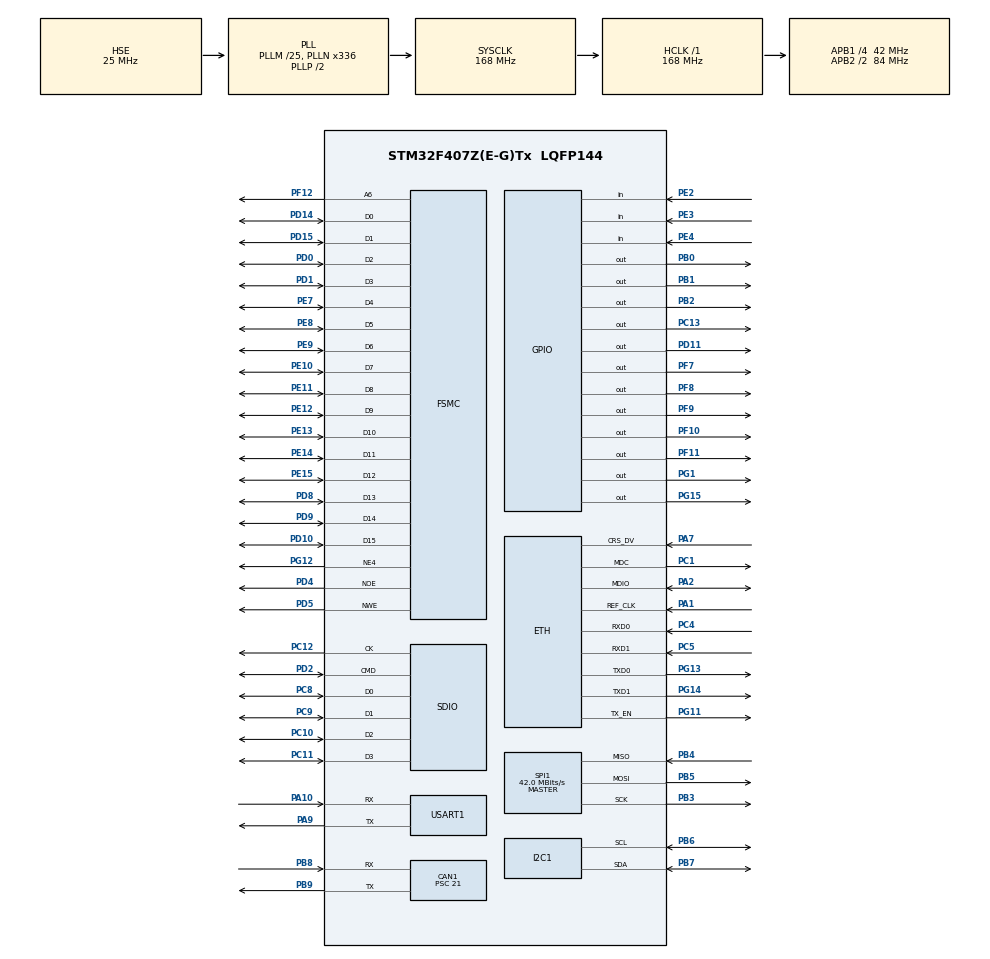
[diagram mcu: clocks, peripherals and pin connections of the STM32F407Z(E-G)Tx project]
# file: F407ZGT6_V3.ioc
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CAN1.ABOM=ENABLE
CAN1.BS1=CAN_BS1_13TQ
CAN1.BS2=CAN_BS2_2TQ
CAN1.CalculateBaudRate=125000
CAN1.CalculateTimeBit=8000
CAN1.CalculateTimeQuantum=500.0
CAN1.Mode=CAN_MODE_LOOPBACK
CAN1.NART=ENABLE
CAN1.Prescaler=21
Dma.Request0=USART1_RX
Dma.Request1=SDIO
Dma.SDIO.1.Direction=DMA_PERIPH_TO_MEMORY
Dma.SDIO.1.FIFOMode=DMA_FIFOMODE_ENABLE
Dma.SDIO.1.FIFOThreshold=DMA_FIFO_THRESHOLD_FULL
Dma.SDIO.1.Instance=DMA2_Stream3
Dma.SDIO.1.MemBurst=DMA_MBURST_INC4
Dma.SDIO.1.MemDataAlignment=DMA_MDATAALIGN_WORD
Dma.SDIO.1.MemInc=DMA_MINC_ENABLE
Dma.SDIO.1.Mode=DMA_PFCTRL
Dma.SDIO.1.PeriphBurst=DMA_PBURST_INC4
Dma.SDIO.1.PeriphDataAlignment=DMA_PDATAALIGN_WORD
Dma.SDIO.1.PeriphInc=DMA_PINC_DISABLE
Dma.SDIO.1.Priority=DMA_PRIORITY_LOW
Dma.USART1_RX.0.Direction=DMA_PERIPH_TO_MEMORY
Dma.USART1_RX.0.FIFOMode=DMA_FIFOMODE_DISABLE
Dma.USART1_RX.0.Instance=DMA2_Stream2
Dma.USART1_RX.0.MemDataAlignment=DMA_MDATAALIGN_BYTE
Dma.USART1_RX.0.MemInc=DMA_MINC_ENABLE
Dma.USART1_RX.0.Mode=DMA_NORMAL
Dma.USART1_RX.0.PeriphDataAlignment=DMA_PDATAALIGN_BYTE
Dma.USART1_RX.0.PeriphInc=DMA_PINC_DISABLE
Dma.USART1_RX.0.Priority=DMA_PRIORITY_LOW
ETH.MediaInterface=HAL_ETH_RMII_MODE
FATFS._USE_LFN=3
FREERTOS.CountingSemaphores01=Uart1RxSem,2,Dynamic,NULL,0
FREERTOS.Mutexes01=Uart1TxMutex,Dynamic,NULL,Available
FREERTOS.Queues01=KeyQueue,4,KeyMsg_t,0,Dynamic,NULL,NULL;LedQueue,4,LedMsg_t,0,Dynamic,NULL,NULL;TouchQueue,16,TouchMsg_t,0,Dynamic,NULL,NULL
FREERTOS.Tasks01=defaultTask,24,128,StartDefaultTask,Default,NULL,Dynamic,NULL,NULL;Key_Proc_Task,32,128,Key_Proc,As weak,NULL,Dynamic,NULL,NULL;Led_Disp_Task,16,128,Led_Disp,As weak,NULL,Dynamic,NULL,NULL;Lcd_Disp_Task,16,1536,Lcd_Disp,As weak,NULL,Dynamic,NULL,NULL;Touch_Proc_Task,32,128,Touch_Proc,As weak,NULL,Dynamic,NULL,NULL;Uart_Proc_Task,24,256,Uart_Proc,As weak,NULL,Dynamic,NULL,NULL
FREERTOS.configENABLE_FPU=1
FREERTOS.configTOTAL_HEAP_SIZE=32768
FSMC.BusTurnAroundDuration4=0
FSMC.DataSetupTime4=20
FSMC.ExtendedAddressSetupTime4=9
FSMC.ExtendedBusTurnAroundDuration4=0
FSMC.ExtendedDataSetupTime4=8
FSMC.ExtendedMode4=FSMC_EXTENDED_MODE_ENABLE
LWIP.GATEWAY_ADDRESS=192.168.001.001
LWIP.IP_ADDRESS=192.168.001.010
LWIP.LWIP_DHCP=0
LWIP.MEM_SIZE=16384
LWIP.NETMASK_ADDRESS=255.255.255.000
LWIP.PBUF_POOL_BUFSIZE=1536
LWIP.Version=v2.1.2_Cube
Mcu.Family=STM32F4
Mcu.Name=STM32F407Z(E-G)Tx
Mcu.Package=LQFP144
NVIC.CAN1_RX0_IRQn=true\:5\:0\:false\:false\:true\:true\:true\:true\:true
NVIC.CAN1_SCE_IRQn=true\:5\:0\:false\:false\:true\:true\:true\:true\:true
NVIC.DMA2_Stream2_IRQn=true\:5\:0\:false\:false\:true\:true\:false\:true\:true
NVIC.DMA2_Stream3_IRQn=true\:5\:0\:false\:false\:true\:true\:false\:true\:true
NVIC.ETH_IRQn=true\:5\:0\:false\:false\:true\:true\:false\:true\:true
NVIC.PriorityGroup=NVIC_PRIORITYGROUP_4
NVIC.SDIO_IRQn=true\:5\:0\:false\:false\:true\:true\:true\:true\:true
NVIC.TIM6_DAC_IRQn=true\:15\:0\:false\:false\:true\:false\:false\:true\:true
NVIC.TimeBase=TIM6_DAC_IRQn
NVIC.TimeBaseIP=TIM6
NVIC.USART1_IRQn=true\:5\:0\:false\:false\:true\:true\:true\:true\:true
PA1.Mode=RMII
PA1.Signal=ETH_REF_CLK
PA10.Mode=Asynchronous
PA10.Signal=USART1_RX
PA13.Mode=Serial_Wire
PA13.Signal=SYS_JTMS-SWDIO
PA14.Mode=Serial_Wire
PA14.Signal=SYS_JTCK-SWCLK
PA2.Mode=RMII
PA2.Signal=ETH_MDIO
PA7.Mode=RMII
PA7.Signal=ETH_CRS_DV
PA9.Mode=Asynchronous
PA9.Signal=USART1_TX
PB0.Signal=GPIO_Output
PB1.Signal=GPIO_Output
PB2.Signal=GPIO_Output
PB3.Mode=Full_Duplex_Master
PB3.Signal=SPI1_SCK
PB4.Mode=Full_Duplex_Master
PB4.Signal=SPI1_MISO
PB5.Mode=Full_Duplex_Master
PB5.Signal=SPI1_MOSI
PB6.Mode=I2C
PB6.Signal=I2C1_SCL
PB7.Mode=I2C
PB7.Signal=I2C1_SDA
PB8.Mode=CAN_Activate
PB8.Signal=CAN1_RX
PB9.Mode=CAN_Activate
PB9.Signal=CAN1_TX
PC1.Mode=RMII
PC1.Signal=ETH_MDC
PC10.Mode=SD_4_bits_Wide_bus
PC10.Signal=SDIO_D2
PC11.Mode=SD_4_bits_Wide_bus
PC11.Signal=SDIO_D3
PC12.Mode=SD_4_bits_Wide_bus
PC12.Signal=SDIO_CK
PC13-ANTI_TAMP.Signal=GPIO_Output
PC14-OSC32_IN.Mode=LSE-External-Oscillator
PC14-OSC32_IN.Signal=RCC_OSC32_IN
PC15-OSC32_OUT.Mode=LSE-External-Oscillator
PC15-OSC32_OUT.Signal=RCC_OSC32_OUT
PC4.Mode=RMII
PC4.Signal=ETH_RXD0
PC5.Mode=RMII
PC5.Signal=ETH_RXD1
PC8.Mode=SD_4_bits_Wide_bus
PC8.Signal=SDIO_D0
PC9.Mode=SD_4_bits_Wide_bus
PC9.Signal=SDIO_D1
PD0.Signal=FSMC_D2_DA2
PD1.Signal=FSMC_D3_DA3
PD10.Signal=FSMC_D15_DA15
PD11.Signal=GPIO_Output
PD14.Signal=FSMC_D0_DA0
PD15.Signal=FSMC_D1_DA1
PD2.Mode=SD_4_bits_Wide_bus
PD2.Signal=SDIO_CMD
PD4.Signal=FSMC_NOE
PD5.Signal=FSMC_NWE
PD8.Signal=FSMC_D13_DA13
PD9.Signal=FSMC_D14_DA14
PE10.Signal=FSMC_D7_DA7
PE11.Signal=FSMC_D8_DA8
PE12.Signal=FSMC_D9_DA9
PE13.Signal=FSMC_D10_DA10
PE14.Signal=FSMC_D11_DA11
PE15.Signal=FSMC_D12_DA12
PE2.Signal=GPIO_Input
PE3.Signal=GPIO_Input
PE4.Signal=GPIO_Input
PE7.Signal=FSMC_D4_DA4
PE8.Signal=FSMC_D5_DA5
PE9.Signal=FSMC_D6_DA6
PF10.Signal=GPIO_Output
PF11.Signal=GPIO_Output
PF12.Signal=FSMC_A6
PF7.Signal=GPIO_Output
PF8.Signal=GPIO_Output
PF9.Signal=GPIO_Output
PG1.Signal=GPIO_Output
PG11.Mode=RMII
PG11.Signal=ETH_TX_EN
PG12.Mode=NorPsramChipSelect4_4
PG12.Signal=FSMC_NE4
PG13.Mode=RMII
PG13.Signal=ETH_TXD0
PG14.Mode=RMII
PG14.Signal=ETH_TXD1
PG15.PinState=GPIO_PIN_SET
PG15.Signal=GPIO_Output
PH0-OSC_IN.Mode=HSE-External-Oscillator
PH0-OSC_IN.Signal=RCC_OSC_IN
PH1-OSC_OUT.Mode=HSE-External-Oscillator
PH1-OSC_OUT.Signal=RCC_OSC_OUT
ProjectManager.HeapSize=0x200
ProjectManager.StackSize=0x400
ProjectManager.TargetToolchain=Makefile
RCC.48MHZClocksFreq_Value=48000000
RCC.AHBFreq_Value=168000000
RCC.APB1CLKDivider=RCC_HCLK_DIV4
RCC.APB1Freq_Value=42000000
RCC.APB1TimFreq_Value=84000000
RCC.APB2CLKDivider=RCC_HCLK_DIV2
RCC.APB2Freq_Value=84000000
RCC.APB2TimFreq_Value=168000000
RCC.CortexFreq_Value=168000000
RCC.HCLKFreq_Value=168000000
RCC.HSE_VALUE=25000000
RCC.HSI_VALUE=16000000
RCC.PLLM=25
RCC.PLLN=336
RCC.PLLQ=7
RCC.PLLSourceVirtual=RCC_PLLSOURCE_HSE
RCC.RCC_RTC_Clock_Source=RCC_RTCCLKSOURCE_LSE
RCC.RCC_RTC_Clock_SourceVirtual=RCC_RTCCLKSOURCE_LSE
RCC.SYSCLKFreq_VALUE=168000000
RCC.SYSCLKSource=RCC_SYSCLKSOURCE_PLLCLK
RCC.VCOOutputFreq_Value=336000000
RTC.Date=12
RTC.Hours=23
RTC.Minutes=59
RTC.Month=RTC_MONTH_DECEMBER
RTC.Seconds=50
RTC.WeekDay=RTC_WEEKDAY_SUNDAY
RTC.Year=26
SH.FSMC_A6.0=FSMC_A6,A6_4
SH.FSMC_D0_DA0.0=FSMC_D0,16b-d4
SH.FSMC_D10_DA10.0=FSMC_D10,16b-d4
SH.FSMC_D11_DA11.0=FSMC_D11,16b-d4
SH.FSMC_D12_DA12.0=FSMC_D12,16b-d4
SH.FSMC_D13_DA13.0=FSMC_D13,16b-d4
SH.FSMC_D14_DA14.0=FSMC_D14,16b-d4
SH.FSMC_D15_DA15.0=FSMC_D15,16b-d4
SH.FSMC_D1_DA1.0=FSMC_D1,16b-d4
SH.FSMC_D2_DA2.0=FSMC_D2,16b-d4
SH.FSMC_D3_DA3.0=FSMC_D3,16b-d4
SH.FSMC_D4_DA4.0=FSMC_D4,16b-d4
SH.FSMC_D5_DA5.0=FSMC_D5,16b-d4
SH.FSMC_D6_DA6.0=FSMC_D6,16b-d4
SH.FSMC_D7_DA7.0=FSMC_D7,16b-d4
SH.FSMC_D8_DA8.0=FSMC_D8,16b-d4
SH.FSMC_D9_DA9.0=FSMC_D9,16b-d4
SH.FSMC_NOE.0=FSMC_NOE,Lcd4
SH.FSMC_NWE.0=FSMC_NWE,Lcd4
SPI1.BaudRatePrescaler=SPI_BAUDRATEPRESCALER_2
SPI1.CalculateBaudRate=42.0 MBits/s
SPI1.Direction=SPI_DIRECTION_2LINES
SPI1.Mode=SPI_MODE_MASTER
SPI1.VirtualType=VM_MASTER
USART1.VirtualMode=VM_ASYNC
VP_CRC_VS_CRC.Mode=CRC_Activate
VP_FATFS_VS_SDIO.Mode=SDIO
VP_FREERTOS_VS_CMSIS_V2.Mode=CMSIS_V2
VP_LWIP_VS_Enabled.Mode=Enabled
VP_RTC_VS_RTC_Activate.Mode=RTC_Enabled
VP_RTC_VS_RTC_Calendar.Mode=RTC_Calendar
VP_SYS_VS_tim6.Mode=TIM6
board=custom

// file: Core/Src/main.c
/* USER CODE BEGIN Header */
/**
  ******************************************************************************
  * @file           : main.c
  * @brief          : Main program body
  ******************************************************************************
  * @attention
  *
  * Copyright (c) 2026 STMicroelectronics.
  * All rights reserved.
  *
  * This software is licensed under terms that can be found in the LICENSE file
  * in the root directory of this software component.
  * If no LICENSE file comes with this software, it is provided AS-IS.
  *
  ******************************************************************************
  */
/* USER CODE END Header */
#include "main.h"
#include "cmsis_os.h"
#include "can.h"
#include "crc.h"
#include "dma.h"
#include "fatfs.h"
#include "i2c.h"
#include "lwip.h"
#include "rtc.h"
#include "sdio.h"
#include "spi.h"
#include "usart.h"
#include "gpio.h"
#include "fsmc.h"

/* USER CODE BEGIN Includes */
#include <string.h>
/* USER CODE END Includes */

/* USER CODE BEGIN PV */
/* CCMRAM 段边界符号（链接脚本 STM32F407xx_FLASH.ld 定义） */
extern uint32_t _sccmram;
extern uint32_t _eccmram;
/* USER CODE END PV */

void SystemClock_Config(void);
void MX_FREERTOS_Init(void);

int main(void)
{

  /* MCU Configuration--------------------------------------------------------*/

  /* Reset of all peripherals, Initializes the Flash interface and the Systick. */
  HAL_Init();

  /* USER CODE BEGIN Init */
  /* CCMRAM 段清零：链接脚本仅定位段、无启动拷贝代码，使用前必须显式清零 */
  memset((void *)&_sccmram, 0, (size_t)((uint8_t *)&_eccmram - (uint8_t *)&_sccmram));
  /* USER CODE END Init */

  /* Configure the system clock */
  SystemClock_Config();

  /* Initialize all configured peripherals */
  MX_GPIO_Init();
  MX_DMA_Init();
  MX_USART1_UART_Init();
  MX_CAN1_Init();
  MX_CRC_Init();
  MX_FSMC_Init();
  MX_I2C1_Init();
  MX_RTC_Init();
  MX_SDIO_SD_Init();
  MX_SPI1_Init();
  MX_FATFS_Init();

  /* Init scheduler */
  osKernelInitialize();  /* Call init function for freertos objects (in cmsis_os2.c) */
  MX_FREERTOS_Init();

  /* Start scheduler */
  osKernelStart();

  /* We should never get here as control is now taken by the scheduler */

  /* Infinite loop */
  while (1)
  {

  }
}

void SystemClock_Config(void)
{
  RCC_OscInitTypeDef RCC_OscInitStruct = {0};
  RCC_ClkInitTypeDef RCC_ClkInitStruct = {0};

  /** Configure the main internal regulator output voltage
  */
  __HAL_RCC_PWR_CLK_ENABLE();
  __HAL_PWR_VOLTAGESCALING_CONFIG(PWR_REGULATOR_VOLTAGE_SCALE1);

  /** Initializes the RCC Oscillators according to the specified parameters
  * in the RCC_OscInitTypeDef structure.
  */
  RCC_OscInitStruct.OscillatorType = RCC_OSCILLATORTYPE_HSE|RCC_OSCILLATORTYPE_LSE;
  RCC_OscInitStruct.HSEState = RCC_HSE_ON;
  RCC_OscInitStruct.LSEState = RCC_LSE_ON;
  RCC_OscInitStruct.PLL.PLLState = RCC_PLL_ON;
  RCC_OscInitStruct.PLL.PLLSource = RCC_PLLSOURCE_HSE;
  RCC_OscInitStruct.PLL.PLLM = 25;
  RCC_OscInitStruct.PLL.PLLN = 336;
  RCC_OscInitStruct.PLL.PLLP = RCC_PLLP_DIV2;
  RCC_OscInitStruct.PLL.PLLQ = 7;
  if (HAL_RCC_OscConfig(&RCC_OscInitStruct) != HAL_OK)
  {
    Error_Handler();
  }

  /** Initializes the CPU, AHB and APB buses clocks
  */
  RCC_ClkInitStruct.ClockType = RCC_CLOCKTYPE_HCLK|RCC_CLOCKTYPE_SYSCLK
                              |RCC_CLOCKTYPE_PCLK1|RCC_CLOCKTYPE_PCLK2;
  RCC_ClkInitStruct.SYSCLKSource = RCC_SYSCLKSOURCE_PLLCLK;
  RCC_ClkInitStruct.AHBCLKDivider = RCC_SYSCLK_DIV1;
  RCC_ClkInitStruct.APB1CLKDivider = RCC_HCLK_DIV4;
  RCC_ClkInitStruct.APB2CLKDivider = RCC_HCLK_DIV2;

  if (HAL_RCC_ClockConfig(&RCC_ClkInitStruct, FLASH_LATENCY_5) != HAL_OK)
  {
    Error_Handler();
  }
}

void HAL_TIM_PeriodElapsedCallback(TIM_HandleTypeDef *htim)
{
  if (htim->Instance == TIM6)
  {
    HAL_IncTick();
  }
}

void Error_Handler(void)
{
  /* USER CODE BEGIN Error_Handler_Debug */
  /* 硬件错误：LED1 快闪，便于区分于断言（常亮） */
  __disable_irq();
  RCC->AHB1ENR |= RCC_AHB1ENR_GPIOFEN;
  GPIOF->MODER = (GPIOF->MODER & ~(3U << (8 * 2))) | (1U << (8 * 2));
  while (1)
  {
    GPIOF->BSRR = GPIO_PIN_8;
    for (volatile uint32_t i = 0; i < 200000; i++);
    GPIOF->BSRR = (uint32_t)GPIO_PIN_8 << 16;
    for (volatile uint32_t i = 0; i < 200000; i++);
  }
  /* USER CODE END Error_Handler_Debug */
}

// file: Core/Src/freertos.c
/* USER CODE BEGIN Header */
/**
  ******************************************************************************
  * File Name          : freertos.c
  * Description        : Code for freertos applications
  ******************************************************************************
  * @attention
  *
  * Copyright (c) 2026 STMicroelectronics.
  * All rights reserved.
  *
  * This software is licensed under terms that can be found in the LICENSE file
  * in the root directory of this software component.
  * If no LICENSE file comes with this software, it is provided AS-IS.
  *
  ******************************************************************************
  */
/* USER CODE END Header */

#include "FreeRTOS.h"
#include "task.h"
#include "main.h"
#include "cmsis_os.h"

/* USER CODE BEGIN Includes */
#include "key.h"
#include "led.h"
#include "touch.h"
#include "net_task.h"
/* USER CODE END Includes */

/* USER CODE BEGIN Variables */

/* Net_Task 任务句柄与属性（USER CODE 区定义，CubeMX 重生成不丢） */
osThreadId_t Net_TaskHandle;
const osThreadAttr_t Net_Task_attributes = {
  .name = "Net_Task",
  .stack_size = 1536,
  .priority = (osPriority_t) osPriorityNormal,
};
/* USER CODE END Variables */
/* Definitions for defaultTask */
osThreadId_t defaultTaskHandle;
const osThreadAttr_t defaultTask_attributes = {
  .name = "defaultTask",
  .stack_size = 128 * 4,
  .priority = (osPriority_t) osPriorityNormal,
};
/* Definitions for Key_Proc_Task */
osThreadId_t Key_Proc_TaskHandle;
const osThreadAttr_t Key_Proc_Task_attributes = {
  .name = "Key_Proc_Task",
  .stack_size = 128 * 4,
  .priority = (osPriority_t) osPriorityAboveNormal,
};
/* Definitions for Led_Disp_Task */
osThreadId_t Led_Disp_TaskHandle;
const osThreadAttr_t Led_Disp_Task_attributes = {
  .name = "Led_Disp_Task",
  .stack_size = 128 * 4,
  .priority = (osPriority_t) osPriorityBelowNormal,
};
/* Definitions for Lcd_Disp_Task */
osThreadId_t Lcd_Disp_TaskHandle;
const osThreadAttr_t Lcd_Disp_Task_attributes = {
  .name = "Lcd_Disp_Task",
  .stack_size = 1536 * 4,
  .priority = (osPriority_t) osPriorityBelowNormal,
};
/* Definitions for Touch_Proc_Task */
osThreadId_t Touch_Proc_TaskHandle;
const osThreadAttr_t Touch_Proc_Task_attributes = {
  .name = "Touch_Proc_Task",
  .stack_size = 128 * 4,
  .priority = (osPriority_t) osPriorityAboveNormal,
};
/* Definitions for Uart_Proc_Task */
osThreadId_t Uart_Proc_TaskHandle;
const osThreadAttr_t Uart_Proc_Task_attributes = {
  .name = "Uart_Proc_Task",
  .stack_size = 256 * 4,
  .priority = (osPriority_t) osPriorityNormal,
};
/* Definitions for KeyQueue */
osMessageQueueId_t KeyQueueHandle;
const osMessageQueueAttr_t KeyQueue_attributes = {
  .name = "KeyQueue"
};
/* Definitions for LedQueue */
osMessageQueueId_t LedQueueHandle;
const osMessageQueueAttr_t LedQueue_attributes = {
  .name = "LedQueue"
};
/* Definitions for TouchQueue */
osMessageQueueId_t TouchQueueHandle;
const osMessageQueueAttr_t TouchQueue_attributes = {
  .name = "TouchQueue"
};
/* Definitions for Uart1TxMutex */
osMutexId_t Uart1TxMutexHandle;
const osMutexAttr_t Uart1TxMutex_attributes = {
  .name = "Uart1TxMutex"
};
/* Definitions for Uart1RxSem */
osSemaphoreId_t Uart1RxSemHandle;
const osSemaphoreAttr_t Uart1RxSem_attributes = {
  .name = "Uart1RxSem"
};

void StartDefaultTask(void *argument);
void Key_Proc(void *argument);
void Led_Disp(void *argument);
void Lcd_Disp(void *argument);
void Touch_Proc(void *argument);
void Uart_Proc(void *argument);

extern void MX_LWIP_Init(void);
void MX_FREERTOS_Init(void); /* (MISRA C 2004 rule 8.1) */

void MX_FREERTOS_Init(void) {
  /* Create the mutex(es) */
  /* creation of Uart1TxMutex */
  Uart1TxMutexHandle = osMutexNew(&Uart1TxMutex_attributes);

  /* Create the semaphores(s) */
  /* creation of Uart1RxSem */
  Uart1RxSemHandle = osSemaphoreNew(2, 0, &Uart1RxSem_attributes);

  /* Create the queue(s) */
  /* creation of KeyQueue */
  KeyQueueHandle = osMessageQueueNew (4, sizeof(KeyMsg_t), &KeyQueue_attributes);

  /* creation of LedQueue */
  LedQueueHandle = osMessageQueueNew (4, sizeof(LedMsg_t), &LedQueue_attributes);

  /* creation of TouchQueue */
  TouchQueueHandle = osMessageQueueNew (16, sizeof(TouchMsg_t), &TouchQueue_attributes);

  /* Create the thread(s) */
  /* creation of defaultTask */
  defaultTaskHandle = osThreadNew(StartDefaultTask, NULL, &defaultTask_attributes);

  /* creation of Key_Proc_Task */
  Key_Proc_TaskHandle = osThreadNew(Key_Proc, NULL, &Key_Proc_Task_attributes);

  /* creation of Led_Disp_Task */
  Led_Disp_TaskHandle = osThreadNew(Led_Disp, NULL, &Led_Disp_Task_attributes);

  /* creation of Lcd_Disp_Task */
  Lcd_Disp_TaskHandle = osThreadNew(Lcd_Disp, NULL, &Lcd_Disp_Task_attributes);

  /* creation of Touch_Proc_Task */
  Touch_Proc_TaskHandle = osThreadNew(Touch_Proc, NULL, &Touch_Proc_Task_attributes);

  /* creation of Uart_Proc_Task */
  Uart_Proc_TaskHandle = osThreadNew(Uart_Proc, NULL, &Uart_Proc_Task_attributes);

  /* USER CODE BEGIN RTOS_THREADS */
  /* 以太网 TCP 服务器任务（APP/net/net_task.c） */
  Net_TaskHandle = osThreadNew(Net_Task, NULL, &Net_Task_attributes);
  /* USER CODE END RTOS_THREADS */

}

void StartDefaultTask(void *argument)
{
  /* init code for LWIP */
  MX_LWIP_Init();
  /* USER CODE BEGIN StartDefaultTask */
  /* defaultTask 仅作占位无业务：立即注销自身，释放其栈与 TCB 内存 */

  osThreadTerminate(osThreadGetId());
  /* USER CODE END StartDefaultTask */
}

__weak void Key_Proc(void *argument)
{
  for(;;)
  {
    osDelay(1);
  }
}

__weak void Led_Disp(void *argument)
{
  for(;;)
  {
    osDelay(1);
  }
}

__weak void Lcd_Disp(void *argument)
{
  for(;;)
  {
    osDelay(1);
  }
}

__weak void Touch_Proc(void *argument)
{
  for(;;)
  {
    osDelay(1);
  }
}

__weak void Uart_Proc(void *argument)
{
  for(;;)
  {
    osDelay(1);
  }
}

/* USER CODE BEGIN Application */

/* 栈溢出钩子（configCHECK_FOR_STACK_OVERFLOW=1）：故障上下文禁止互斥锁打印，直接进 Error_Handler */
void vApplicationStackOverflowHook(TaskHandle_t xTask, char *pcTaskName)
{
  (void)xTask;
  (void)pcTaskName;
  Error_Handler();
}

/* 堆分配失败钩子（configUSE_MALLOC_FAILED_HOOK=1）：同上，直接进 Error_Handler */
void vApplicationMallocFailedHook(void)
{
  Error_Handler();
}

/* USER CODE END Application */
